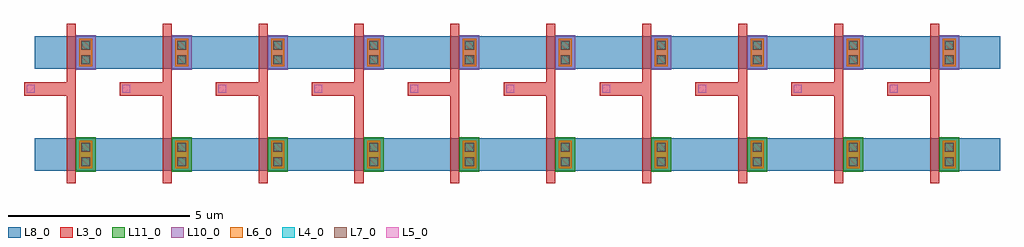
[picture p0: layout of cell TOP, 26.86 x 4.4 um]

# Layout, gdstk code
import gdstk
lib = gdstk.Library(unit=1e-6, precision=1e-09)
def R(c, l, rs):  # rectangles x0, y0, x1, y1
    for r in rs: c.add(gdstk.rectangle(r[:2], r[2:], *l))
L3_0 = (3, 0)
L4_0 = (4, 0)
L5_0 = (5, 0)
L6_0 = (6, 0)
L7_0 = (7, 0)
L8_0 = (8, 0)
L10_0 = (10, 0)
L11_0 = (11, 0)

device_d_pmos = lib.new_cell('DEVICE_D$PMOS')
R(device_d_pmos, L3_0, [(-0.125,-0.475,0.125,0.475)])

device_d_nmos = lib.new_cell('DEVICE_D$NMOS')
R(device_d_nmos, L3_0, [(-0.125,-0.475,0.125,0.475)])

net_in = lib.new_cell('NET_IN')
R(net_in, L3_0, [(23.235,-0.8,23.485,0.8), (23.235,-0.25,23.485,2.25), (22.06,1.62,23.36,1.98), (23.235,2,23.485,3.6)])
R(net_in, L5_0, [(22.13,1.69,22.35,1.91)])
net_in.add(gdstk.Reference(device_d_pmos, (23.36,2.8)))
net_in.add(gdstk.Reference(device_d_nmos, (23.36,0)))

net_in_1 = lib.new_cell('NET_IN$1')
R(net_in_1, L3_0, [(-0.525,-0.8,-0.275,0.8), (-0.525,-0.25,-0.275,2.25), (-1.7,1.62,-0.4,1.98), (-0.525,2,-0.275,3.6)])
R(net_in_1, L5_0, [(-1.63,1.69,-1.41,1.91)])
net_in_1.add(gdstk.Reference(device_d_pmos, (-0.4,2.8)))
net_in_1.add(gdstk.Reference(device_d_nmos, (-0.4,0)))

net_in_2 = lib.new_cell('NET_IN$2')
R(net_in_2, L3_0, [(2.115,-0.8,2.365,0.8), (2.115,-0.25,2.365,2.25), (0.94,1.62,2.24,1.98), (2.115,2,2.365,3.6)])
R(net_in_2, L5_0, [(1.01,1.69,1.23,1.91)])
net_in_2.add(gdstk.Reference(device_d_pmos, (2.24,2.8)))
net_in_2.add(gdstk.Reference(device_d_nmos, (2.24,0)))

net_in_3 = lib.new_cell('NET_IN$3')
R(net_in_3, L3_0, [(4.755,-0.8,5.005,0.8), (4.755,-0.25,5.005,2.25), (3.58,1.62,4.88,1.98), (4.755,2,5.005,3.6)])
R(net_in_3, L5_0, [(3.65,1.69,3.87,1.91)])
net_in_3.add(gdstk.Reference(device_d_pmos, (4.88,2.8)))
net_in_3.add(gdstk.Reference(device_d_nmos, (4.88,0)))

net_in_4 = lib.new_cell('NET_IN$4')
R(net_in_4, L3_0, [(7.395,-0.8,7.645,0.8), (7.395,-0.25,7.645,2.25), (6.22,1.62,7.52,1.98), (7.395,2,7.645,3.6)])
R(net_in_4, L5_0, [(6.29,1.69,6.51,1.91)])
net_in_4.add(gdstk.Reference(device_d_pmos, (7.52,2.8)))
net_in_4.add(gdstk.Reference(device_d_nmos, (7.52,0)))

net_in_5 = lib.new_cell('NET_IN$5')
R(net_in_5, L3_0, [(10.035,-0.8,10.285,0.8), (10.035,-0.25,10.285,2.25), (8.86,1.62,10.16,1.98), (10.035,2,10.285,3.6)])
R(net_in_5, L5_0, [(8.93,1.69,9.15,1.91)])
net_in_5.add(gdstk.Reference(device_d_pmos, (10.16,2.8)))
net_in_5.add(gdstk.Reference(device_d_nmos, (10.16,0)))

net_in_6 = lib.new_cell('NET_IN$6')
R(net_in_6, L3_0, [(12.675,-0.8,12.925,0.8), (12.675,-0.25,12.925,2.25), (11.5,1.62,12.8,1.98), (12.675,2,12.925,3.6)])
R(net_in_6, L5_0, [(11.57,1.69,11.79,1.91)])
net_in_6.add(gdstk.Reference(device_d_pmos, (12.8,2.8)))
net_in_6.add(gdstk.Reference(device_d_nmos, (12.8,0)))

net_in_7 = lib.new_cell('NET_IN$7')
R(net_in_7, L3_0, [(15.315,-0.8,15.565,0.8), (15.315,-0.25,15.565,2.25), (14.14,1.62,15.44,1.98), (15.315,2,15.565,3.6)])
R(net_in_7, L5_0, [(14.21,1.69,14.43,1.91)])
net_in_7.add(gdstk.Reference(device_d_pmos, (15.44,2.8)))
net_in_7.add(gdstk.Reference(device_d_nmos, (15.44,0)))

net_in_8 = lib.new_cell('NET_IN$8')
R(net_in_8, L3_0, [(17.955,-0.8,18.205,0.8), (17.955,-0.25,18.205,2.25), (16.78,1.62,18.08,1.98), (17.955,2,18.205,3.6)])
R(net_in_8, L5_0, [(16.85,1.69,17.07,1.91)])
net_in_8.add(gdstk.Reference(device_d_pmos, (18.08,2.8)))
net_in_8.add(gdstk.Reference(device_d_nmos, (18.08,0)))

net_in_9 = lib.new_cell('NET_IN$9')
R(net_in_9, L3_0, [(20.595,-0.8,20.845,0.8), (20.595,-0.25,20.845,2.25), (19.42,1.62,20.72,1.98), (20.595,2,20.845,3.6)])
R(net_in_9, L5_0, [(19.49,1.69,19.71,1.91)])
net_in_9.add(gdstk.Reference(device_d_pmos, (20.72,2.8)))
net_in_9.add(gdstk.Reference(device_d_nmos, (20.72,0)))

device_d_nmos_1 = lib.new_cell('DEVICE_D$NMOS$1')
R(device_d_nmos_1, L11_0, [(0.125,-0.475,0.675,0.475)])

device_d_nmos_1_1 = lib.new_cell('DEVICE_D$NMOS$1$1')
R(device_d_nmos_1_1, L11_0, [(-0.675,-0.475,-0.125,0.475)])

circuit_inv2 = lib.new_cell('CIRCUIT_INV2')
R(circuit_inv2, L4_0, [(-0.11,-0.31,0.11,-0.09), (-0.11,-0.31,0.11,-0.09), (-0.11,0.09,0.11,0.31), (-0.11,0.09,0.11,0.31)])
R(circuit_inv2, L6_0, [(-0.18,-0.38,0.18,0.38), (-0.18,-0.38,0.18,0.38)])
R(circuit_inv2, L7_0, [(-0.125,-0.325,0.125,-0.075), (-0.125,0.075,0.125,0.325)])
R(circuit_inv2, L8_0, [(-1.4,-0.45,1.4,0.45)])
R(circuit_inv2, L11_0, [(-0.275,-0.475,0.275,0.475)])
circuit_inv2.add(gdstk.Reference(device_d_nmos_1, (-0.4,0)))
circuit_inv2.add(gdstk.Reference(device_d_nmos_1_1, (0.4,0)))

net_vss = lib.new_cell('NET_VSS')
net_vss.add(gdstk.Reference(circuit_inv2, (23.76,0)))
net_vss.add(gdstk.Reference(circuit_inv2, (0,0)))
net_vss.add(gdstk.Reference(circuit_inv2, (2.64,0)))
net_vss.add(gdstk.Reference(circuit_inv2, (5.28,0)))
net_vss.add(gdstk.Reference(circuit_inv2, (7.92,0)))
net_vss.add(gdstk.Reference(circuit_inv2, (10.56,0)))
net_vss.add(gdstk.Reference(circuit_inv2, (13.2,0)))
net_vss.add(gdstk.Reference(circuit_inv2, (15.84,0)))
net_vss.add(gdstk.Reference(circuit_inv2, (18.48,0)))
net_vss.add(gdstk.Reference(circuit_inv2, (21.12,0)))

device_d_pmos_1 = lib.new_cell('DEVICE_D$PMOS$1')
R(device_d_pmos_1, L10_0, [(0.125,-0.475,0.675,0.475)])

device_d_pmos_1_1 = lib.new_cell('DEVICE_D$PMOS$1$1')
R(device_d_pmos_1_1, L10_0, [(-0.675,-0.475,-0.125,0.475)])

circuit_inv2_1 = lib.new_cell('CIRCUIT_INV2$1')
R(circuit_inv2_1, L4_0, [(-0.11,2.49,0.11,2.71), (-0.11,2.49,0.11,2.71), (-0.11,2.89,0.11,3.11), (-0.11,2.89,0.11,3.11)])
R(circuit_inv2_1, L6_0, [(-0.18,2.42,0.18,3.18), (-0.18,2.42,0.18,3.18)])
R(circuit_inv2_1, L7_0, [(-0.125,2.475,0.125,2.725), (-0.125,2.875,0.125,3.125)])
R(circuit_inv2_1, L8_0, [(-1.4,2.35,1.4,3.25)])
R(circuit_inv2_1, L10_0, [(-0.275,2.325,0.275,3.275)])
circuit_inv2_1.add(gdstk.Reference(device_d_pmos_1, (-0.4,2.8)))
circuit_inv2_1.add(gdstk.Reference(device_d_pmos_1_1, (0.4,2.8)))

net_vdd = lib.new_cell('NET_VDD')
net_vdd.add(gdstk.Reference(circuit_inv2_1, (23.76,0)))
net_vdd.add(gdstk.Reference(circuit_inv2_1, (0,0)))
net_vdd.add(gdstk.Reference(circuit_inv2_1, (2.64,0)))
net_vdd.add(gdstk.Reference(circuit_inv2_1, (5.28,0)))
net_vdd.add(gdstk.Reference(circuit_inv2_1, (7.92,0)))
net_vdd.add(gdstk.Reference(circuit_inv2_1, (10.56,0)))
net_vdd.add(gdstk.Reference(circuit_inv2_1, (13.2,0)))
net_vdd.add(gdstk.Reference(circuit_inv2_1, (15.84,0)))
net_vdd.add(gdstk.Reference(circuit_inv2_1, (18.48,0)))
net_vdd.add(gdstk.Reference(circuit_inv2_1, (21.12,0)))

top = lib.new_cell('TOP')
top.add(gdstk.Reference(net_in, (0,0)))
top.add(gdstk.Reference(net_in_1, (0,0)))
top.add(gdstk.Reference(net_in_2, (0,0)))
top.add(gdstk.Reference(net_in_3, (0,0)))
top.add(gdstk.Reference(net_in_4, (0,0)))
top.add(gdstk.Reference(net_in_5, (0,0)))
top.add(gdstk.Reference(net_in_6, (0,0)))
top.add(gdstk.Reference(net_in_7, (0,0)))
top.add(gdstk.Reference(net_in_8, (0,0)))
top.add(gdstk.Reference(net_in_9, (0,0)))
top.add(gdstk.Reference(net_vss, (0,0)))
top.add(gdstk.Reference(net_vdd, (0,0)))

lib.write_gds('TOP.gds')
